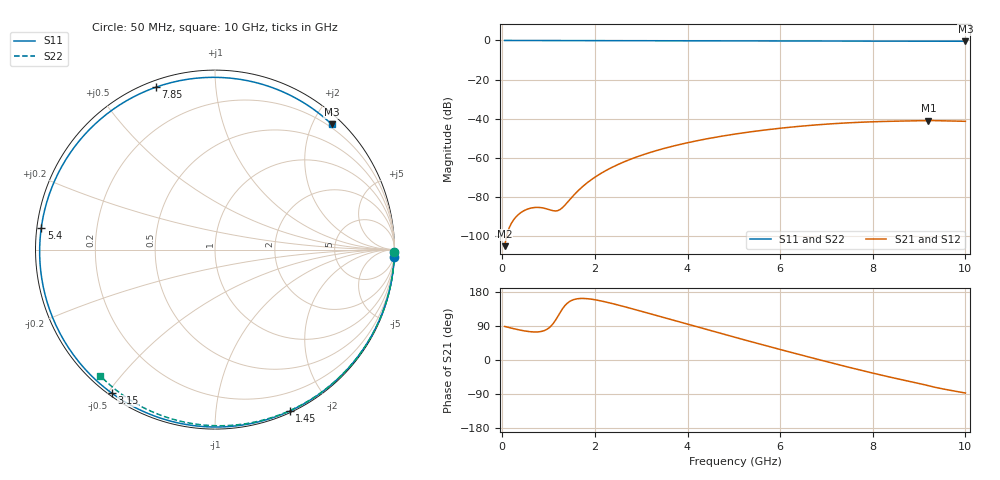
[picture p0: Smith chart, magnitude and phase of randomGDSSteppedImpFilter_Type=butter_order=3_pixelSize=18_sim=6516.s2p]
! freq	dB(S11)	phase(S11)	dB(S12)	phase(S12)
!  dB(S21)	phase(S21)	dB(S22)	phase(S22)
!S-par simulation data
#  GHz  S  DB  R 50
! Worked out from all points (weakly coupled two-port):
!   200 points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, 50 MHz to 10 GHz, reference 50 ohm
!   highest |S21| = -40.86 dB at 9.2 GHz (marker M1); lowest = -105.0 dB at 50 MHz (marker M2)
!   lowest |S11| = -0.4 dB at 10 GHz (marker M3), VSWR 42.36, Z = 7.4 + j115 ohm
!   |S11| at or under -10 dB: nowhere
!   |S22| runs from -0.4 to 0.0 dB; largest |S21 - S12| = 0
!   S11 on the Smith chart (normalised r, x): 50 MHz: 0, -48; 1.45 GHz: 0.02, -1.56; 3.15 GHz: 0.01, -0.51; 5.4 GHz: 0.01, +0.06; 7.85 GHz: 0.03, +0.70; 10 GHz: 0.15, +2.29
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0.05  -0.00 -2.4  -104.98 88.6  -104.98 88.6  -0.00 -0.8
0.35  -0.02 -16.5  -88.79 79.8  -88.79 79.8  -0.01 -5.3
0.65  -0.04 -30.3  -85.40 74.2  -85.40 74.2  -0.01 -9.9
1.05  -0.06 -48.2  -86.60 89.3  -86.60 89.3  -0.02 -15.9
1.45  -0.08 -65.2  -81.41 154.1  -81.41 154.1  -0.03 -21.9
1.5  -0.08 -67.2  -80.07 157.4  -80.07 157.4  -0.03 -22.7
1.75  -0.09 -77.2  -74.25 162.4  -74.25 162.4  -0.03 -26.4
2.05  -0.10 -88.6  -69.01 157.9  -69.01 157.9  -0.04 -30.8
2.35  -0.11 -99.4  -64.99 149.7  -64.99 149.7  -0.05 -35.2
3.15  -0.13 -125.8  -57.47 123.5  -57.47 123.5  -0.06 -46.7
3.4  -0.14 -133.3  -55.71 115.0  -55.71 115.0  -0.07 -50.2
4.2  -0.17 -156.0  -51.20 87.6  -51.20 87.6  -0.09 -61.3
5.05  -0.20 -178.3  -47.68 59.0  -47.68 59.0  -0.11 -72.7
5.4  -0.21 172.8  -46.51 47.4  -46.51 47.4  -0.12 -77.3
6.05  -0.24 156.5  -44.67 26.1  -44.67 26.1  -0.15 -85.6
6.7  -0.28 140.1  -43.24 5.3  -43.24 5.3  -0.18 -93.7
7.3  -0.30 124.7  -42.25 -13.5  -42.25 -13.5  -0.22 -101.0
7.85  -0.33 110.1  -41.62 -30.2  -41.62 -30.2  -0.25 -107.6
8.35  -0.35 96.3  -41.26 -44.6  -41.26 -44.6  -0.29 -113.4
8.8  -0.36 83.5  -41.05 -56.6  -41.05 -56.6  -0.33 -118.7
9.2  -0.38 71.7  -40.86 -67.8  -40.86 -67.8  -0.36 -123.3
10  -0.41 47.0  -41.26 -87.2  -41.26 -87.2  -0.45 -132.4
